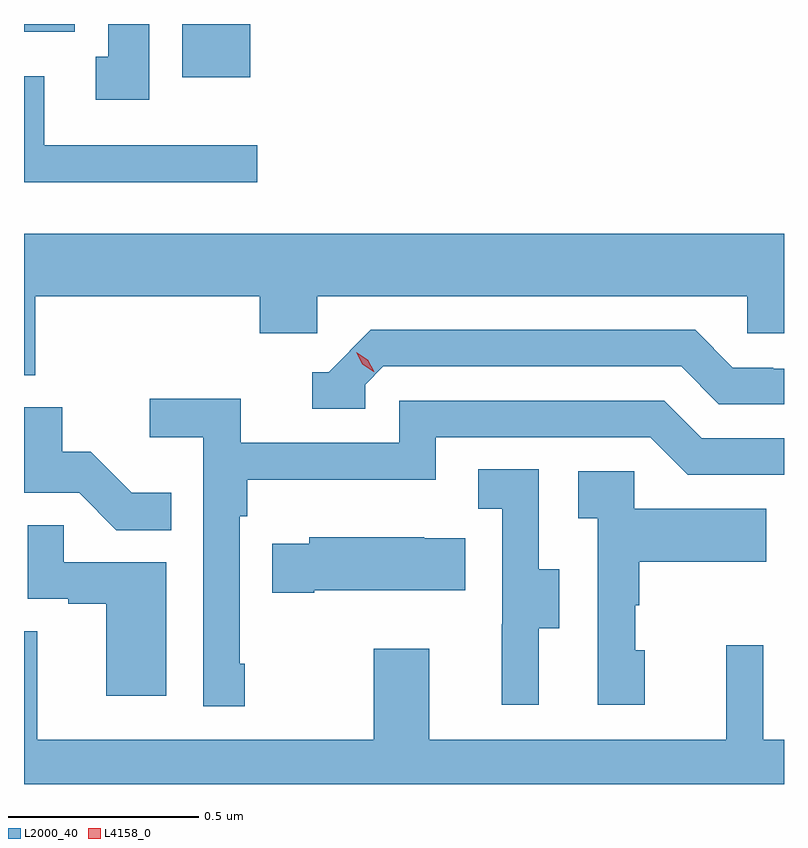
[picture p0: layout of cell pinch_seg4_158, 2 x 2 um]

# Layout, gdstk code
import gdstk
lib = gdstk.Library(unit=1e-6, precision=1e-09)
def R(c, l, rs):  # rectangles x0, y0, x1, y1
    for r in rs: c.add(gdstk.rectangle(r[:2], r[2:], *l))
def P(c, l, *ps):  # polygons
    for p in ps: c.add(gdstk.Polygon(p, *l))
L2000_40 = (2000, 40)
L4158_0 = (4158, 0)

pinch_seg4_158 = lib.new_cell('pinch_seg4_158')
R(pinch_seg4_158, L2000_40, [(1130.135,802.724,1130.314,802.864), (1129.718,802.844,1129.852,802.864)])
P(pinch_seg4_158, L2000_40, [(1130.047,802.864),(1129.94,802.864),(1129.94,802.778),(1129.907,802.778),(1129.907,802.665),(1130.047,802.665)],
  [(1130.332,802.545),(1129.771,802.545),(1129.771,802.726),(1129.718,802.726),(1129.718,802.448),(1130.332,802.448)],
  [(1129.748,802.148),(1130.339,802.148),(1130.339,802.05),(1130.49,802.05),(1130.49,802.148),(1131.621,802.148),(1131.621,802.05),(1131.718,802.05),(1131.718,802.312),(1129.718,802.312),(1129.718,801.94),(1129.748,801.94)],
  [(1130.616,801.915),(1130.664,801.963),(1131.447,801.963),(1131.546,801.864),(1131.718,801.864),(1131.718,801.957),(1131.69,801.957),(1131.69,801.96),(1131.583,801.96),(1131.484,802.059),(1130.631,802.059),(1130.52,801.948),(1130.477,801.948),(1130.477,801.852),(1130.616,801.852)],
  [(1130.299,801.181),(1130.286,801.181),(1130.286,801.569),(1130.306,801.569),(1130.306,801.665),(1130.802,801.665),(1130.802,801.777),(1131.366,801.777),(1131.465,801.678),(1131.718,801.678),(1131.718,801.774),(1131.502,801.774),(1131.403,801.873),(1130.706,801.873),(1130.706,801.762),(1130.288,801.762),(1130.288,801.878),(1130.049,801.878),(1130.049,801.776),(1130.19,801.776),(1130.19,801.069),(1130.299,801.069)],
  [(1130.105,801.631),(1130.001,801.631),(1129.894,801.738),(1129.818,801.738),(1129.818,801.855),(1129.718,801.855),(1129.718,801.759),(1129.719,801.759),(1129.719,801.63),(1129.863,801.63),(1129.961,801.532),(1130.105,801.532)],
  [(1131.073,801.274),(1131.127,801.274),(1131.127,801.429),(1131.072,801.429),(1131.072,801.692),(1130.913,801.692),(1130.913,801.589),(1130.976,801.589),(1130.976,801.285),(1130.975,801.285),(1130.975,801.072),(1131.073,801.072)],
  [(1131.352,801.216),(1131.327,801.216),(1131.327,801.335),(1131.337,801.335),(1131.337,801.449),(1131.671,801.449),(1131.671,801.589),(1131.324,801.589),(1131.324,801.687),(1131.177,801.687),(1131.177,801.563),(1131.228,801.563),(1131.228,801.072),(1131.352,801.072)],
  [(1130.092,801.447),(1129.823,801.447),(1129.823,801.545),(1129.728,801.545),(1129.728,801.351),(1129.835,801.351),(1129.835,801.339),(1129.934,801.339),(1129.934,801.096),(1130.092,801.096)],
  [(1130.482,801.374),(1130.879,801.374),(1130.879,801.511),(1130.771,801.511),(1130.771,801.514),(1130.469,801.514),(1130.469,801.496),(1130.371,801.496),(1130.371,801.367),(1130.482,801.367)],
  [(1131.718,800.98),(1131.663,800.98),(1131.663,801.229),(1131.566,801.229),(1131.566,800.98),(1130.785,800.98),(1130.785,801.22),(1130.638,801.22),(1130.638,800.98),(1129.753,800.98),(1129.753,801.266),(1129.718,801.266),(1129.718,800.864),(1131.718,800.864)])
P(pinch_seg4_158, L4158_0, [(1130.639,801.949),(1130.608,801.968),(1130.592,802),(1130.592,802),(1130.592,802),(1130.623,801.981),(1130.64,801.949),(1130.64,801.949)])

lib.write_gds('pinch_seg4_158.gds')
